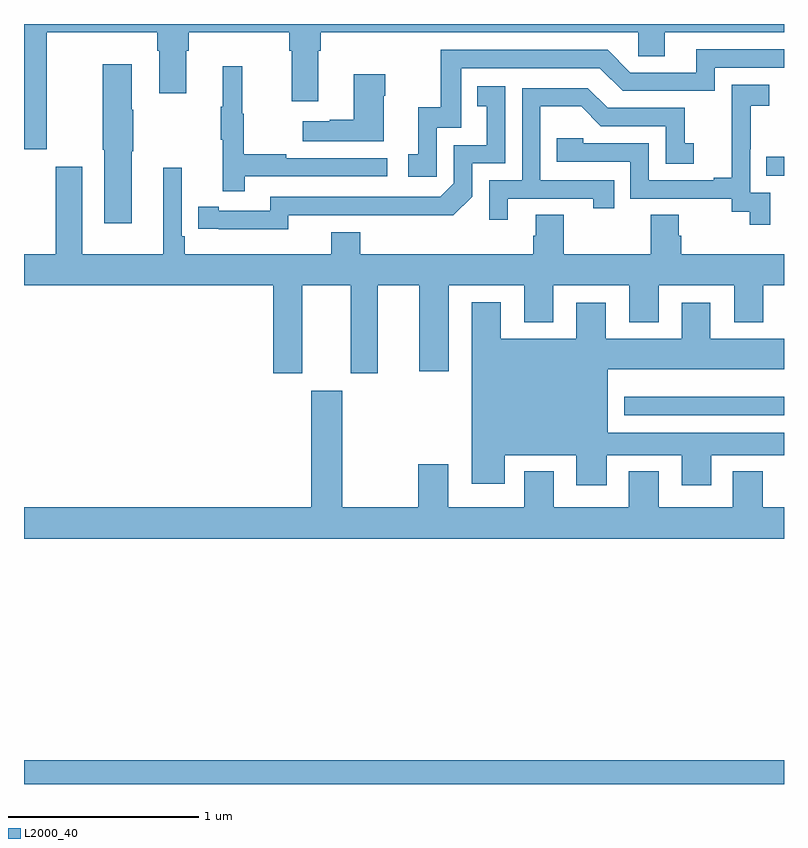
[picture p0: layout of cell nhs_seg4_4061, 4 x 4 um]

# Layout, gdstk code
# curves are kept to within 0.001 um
import gdstk
lib = gdstk.Library(unit=1e-6, precision=1e-09)
def R(c, l, rs):  # rectangles x0, y0, x1, y1
    for r in rs: c.add(gdstk.rectangle(r[:2], r[2:], *l))
def P(c, l, *ps):  # polygons
    for p in ps: c.add(gdstk.Polygon(p, *l))
L2000_40 = (2000, 40)

nhs_seg4_4061 = lib.new_cell('nhs_seg4_4061')
R(nhs_seg4_4061, L2000_40, [(327,756.9,331,757.024), (330.158,758.841,331,758.938), (330.907,760.101,331,760.202)])
P(nhs_seg4_4061, L2000_40, [(327,760.242),(327.121,760.242),(327.121,760.856),(327.701,760.856),(327.701,760.76),(327.713,760.76),(327.713,760.536),(327.853,760.536),(327.853,760.76),(327.866,760.76),(327.866,760.856),(328.397,760.856),(328.397,760.76),(328.409,760.76),(328.409,760.494),(328.549,760.494),(328.549,760.76),(328.562,760.76),(328.562,760.856),(330.234,760.856),(330.234,760.729),(330.373,760.729),(330.373,760.856),(331,760.856),(331,760.9),(327,760.9)],
  [(329.172,760.353),(329.301,760.353),(329.301,760.668),(330.03,760.668),(330.15,760.548),(330.636,760.548),(330.636,760.671),(331,760.671),(331,760.767),(330.539,760.767),(330.539,760.644),(330.192,760.644),(330.072,760.764),(329.193,760.764),(329.193,760.462),(329.075,760.462),(329.075,760.215),(329.022,760.215),(329.022,760.095),(329.172,760.095)],
  [(327.568,760.231),(327.576,760.231),(327.576,760.448),(327.568,760.448),(327.568,760.687),(327.415,760.687),(327.415,760.237),(327.422,760.237),(327.422,759.852),(327.568,759.852)],
  [(328.163,760.098),(328.912,760.098),(328.912,760.194),(328.379,760.194),(328.379,760.214),(328.156,760.214),(328.156,760.428),(328.148,760.428),(328.148,760.678),(328.046,760.678),(328.046,760.465),(328.035,760.465),(328.035,760.291),(328.046,760.291),(328.046,760.02),(328.163,760.02)],
  [(328.894,760.523),(328.902,760.523),(328.902,760.636),(328.736,760.636),(328.736,760.397),(328.61,760.397),(328.61,760.387),(328.467,760.387),(328.467,760.283),(328.894,760.283)],
  [(330.927,760.011),(330.822,760.011),(330.822,760.241),(330.824,760.241),(330.824,760.469),(330.922,760.469),(330.922,760.579),(330.724,760.579),(330.724,760.373),(330.725,760.373),(330.725,760.09),(330.629,760.09),(330.629,760.077),(330.288,760.077),(330.288,760.272),(329.943,760.272),(329.943,760.299),(329.803,760.299),(329.803,760.176),(330.192,760.176),(330.192,759.981),(330.726,759.981),(330.726,759.913),(330.819,759.913),(330.819,759.843),(330.927,759.843)],
  [(328.392,759.894),(329.26,759.893),(329.358,759.99),(329.358,760.167),(329.532,760.167),(329.532,760.573),(329.386,760.573),(329.386,760.467),(329.435,760.467),(329.435,760.263),(329.262,760.263),(329.262,760.062),(329.19,759.99),(328.296,759.99),(328.296,759.918),(328.024,759.918),(328.024,759.938),(327.916,759.938),(327.916,759.822),(328.392,759.821)],
  [(329.545,759.981),(329.996,759.981),(329.996,759.93),(330.107,759.93),(330.107,760.077),(329.718,760.077),(329.718,760.466),(329.932,760.466),(330.036,760.362),(330.378,760.362),(330.378,760.164),(330.526,760.164),(330.526,760.273),(330.477,760.273),(330.477,760.458),(330.073,760.458),(329.968,760.563),(329.622,760.563),(329.622,760.077),(329.448,760.077),(329.448,759.87),(329.545,759.87)],
  [(328.465,759.524),(328.721,759.524),(328.721,759.063),(328.861,759.063),(328.861,759.524),(329.081,759.524),(329.081,759.072),(329.236,759.072),(329.236,759.524),(329.633,759.524),(329.633,759.33),(329.785,759.33),(329.785,759.524),(330.185,759.524),(330.185,759.33),(330.34,759.33),(330.34,759.524),(330.737,759.524),(330.737,759.33),(330.892,759.33),(330.892,759.524),(331,759.524),(331,759.688),(330.458,759.688),(330.458,759.786),(330.445,759.786),(330.445,759.896),(330.298,759.896),(330.298,759.688),(329.841,759.688),(329.841,759.896),(329.693,759.896),(329.693,759.786),(329.681,759.786),(329.681,759.688),(328.769,759.688),(328.769,759.805),(328.616,759.805),(328.616,759.688),(327.845,759.688),(327.845,759.784),(327.831,759.784),(327.831,760.144),(327.734,760.144),(327.734,759.688),(327.307,759.688),(327.307,760.15),(327.167,760.15),(327.167,759.688),(327,759.688),(327,759.524),(328.313,759.524),(328.313,759.063),(328.465,759.063)],
  [(330.067,758.63),(330.461,758.63),(330.461,758.472),(330.616,758.472),(330.616,758.63),(331,758.63),(331,758.749),(330.073,758.749),(330.073,759.083),(331,759.083),(331,759.244),(330.613,759.244),(330.613,759.433),(330.461,759.433),(330.461,759.244),(330.061,759.244),(330.061,759.433),(329.906,759.433),(329.906,759.244),(329.509,759.244),(329.509,759.436),(329.357,759.436),(329.357,758.48),(329.53,758.48),(329.53,758.63),(329.906,758.63),(329.906,758.472),(330.067,758.472)],
  [(331,758.356),(330.889,758.356),(330.889,758.545),(330.731,758.545),(330.731,758.356),(330.34,758.356),(330.34,758.545),(330.182,758.545),(330.182,758.356),(329.788,758.356),(329.788,758.545),(329.633,758.545),(329.633,758.356),(329.233,758.356),(329.233,758.584),(329.074,758.584),(329.074,758.356),(328.675,758.356),(328.675,758.971),(328.511,758.971),(328.511,758.356),(327,758.356),(327,758.192),(331,758.192)])

lib.write_gds('nhs_seg4_4061.gds')
